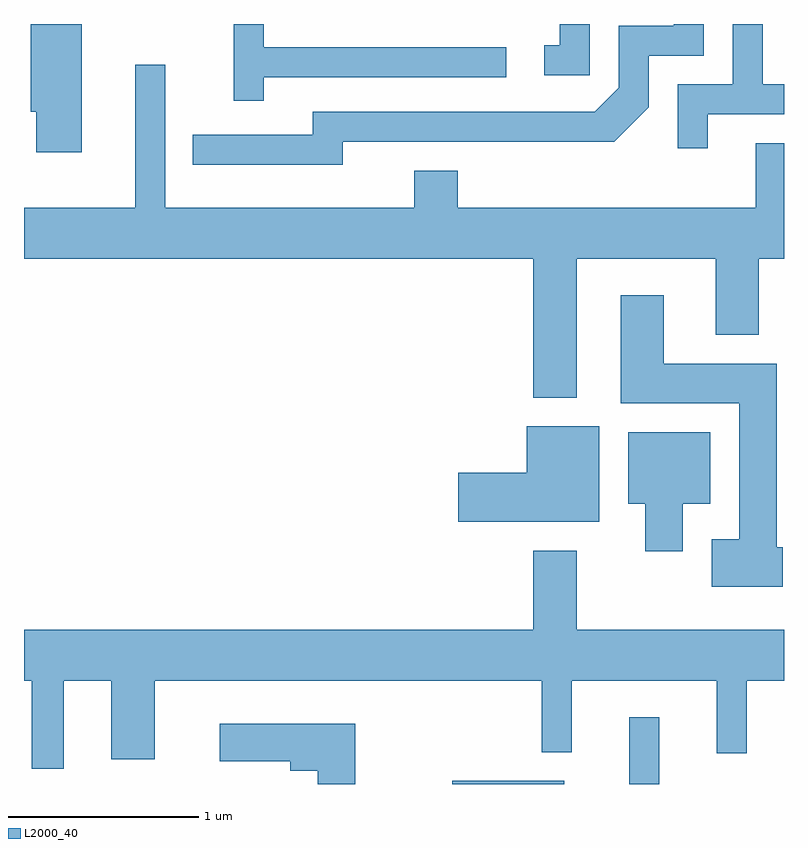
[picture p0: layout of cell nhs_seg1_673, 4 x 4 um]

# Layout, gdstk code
import gdstk
lib = gdstk.Library(unit=1e-6, precision=1e-09)
def R(c, l, rs):  # rectangles x0, y0, x1, y1
    for r in rs: c.add(gdstk.rectangle(r[:2], r[2:], *l))
def P(c, l, *ps):  # polygons
    for p in ps: c.add(gdstk.Polygon(p, *l))
L2000_40 = (2000, 40)

nhs_seg1_673 = lib.new_cell('nhs_seg1_673')
R(nhs_seg1_673, L2000_40, [(207.866,885.712,208.454,885.729), (208.796,885.712,208.954,886.063)])
P(nhs_seg1_673, L2000_40, [(205.914,889.712),(205.646,889.712),(205.646,889.251),(205.676,889.251),(205.676,889.036),(205.914,889.036)],
  [(207.289,889.091),(208.717,889.091),(208.899,889.274),(208.899,889.546),(209.189,889.546),(209.189,889.712),(209.031,889.712),(209.031,889.704),(208.741,889.704),(208.741,889.377),(208.614,889.249),(207.131,889.249),(207.131,889.129),(206.498,889.129),(206.498,888.971),(207.289,888.971)],
  [(209.209,889.236),(209.611,889.236),(209.611,889.394),(209.499,889.394),(209.499,889.712),(209.341,889.712),(209.341,889.394),(209.051,889.394),(209.051,889.058),(209.209,889.058)],
  [(206.874,889.431),(208.148,889.431),(208.148,889.589),(206.874,889.589),(206.874,889.712),(206.716,889.712),(206.716,889.308),(206.874,889.308)],
  [(208.589,889.712),(208.431,889.712),(208.431,889.599),(208.348,889.599),(208.348,889.441),(208.589,889.441)],
  [(208.519,888.476),(209.251,888.476),(209.251,888.076),(209.479,888.076),(209.479,888.476),(209.611,888.476),(209.611,889.084),(209.461,889.084),(209.461,888.744),(207.894,888.744),(207.894,888.939),(207.666,888.939),(207.666,888.744),(206.354,888.744),(206.354,889.498),(206.196,889.498),(206.196,888.744),(205.611,888.744),(205.611,888.476),(208.291,888.476),(208.291,887.746),(208.519,887.746)],
  [(209.604,886.959),(209.574,886.959),(209.574,887.924),(208.979,887.924),(208.979,888.284),(208.751,888.284),(208.751,887.716),(209.376,887.716),(209.376,886.999),(209.231,886.999),(209.231,886.751),(209.604,886.751)],
  [(208.639,887.594),(208.256,887.594),(208.256,887.349),(207.896,887.349),(207.896,887.091),(208.639,887.091)],
  [(209.079,887.186),(209.224,887.186),(209.224,887.564),(208.791,887.564),(208.791,887.186),(208.881,887.186),(208.881,886.936),(209.079,886.936)],
  [(205.819,886.256),(206.071,886.256),(206.071,885.841),(206.299,885.841),(206.299,886.256),(208.336,886.256),(208.336,885.878),(208.494,885.878),(208.494,886.256),(209.256,886.256),(209.256,885.873),(209.414,885.873),(209.414,886.256),(209.611,886.256),(209.611,886.524),(208.519,886.524),(208.519,886.939),(208.291,886.939),(208.291,886.524),(205.611,886.524),(205.611,886.256),(205.651,886.256),(205.651,885.793),(205.819,885.793)],
  [(207.354,886.029),(206.641,886.029),(206.641,885.831),(207.011,885.831),(207.011,885.781),(207.156,885.781),(207.156,885.712),(207.354,885.712)])

lib.write_gds('nhs_seg1_673.gds')
